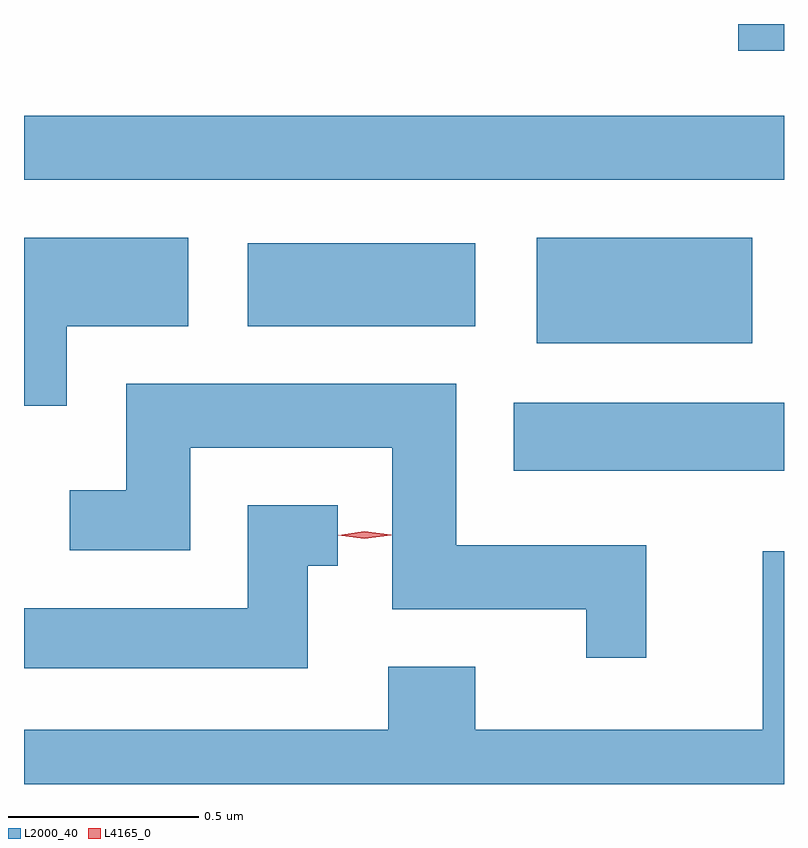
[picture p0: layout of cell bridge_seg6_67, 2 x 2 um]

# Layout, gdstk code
import gdstk
lib = gdstk.Library(unit=1e-6, precision=1e-09)
def R(c, l, rs):  # rectangles x0, y0, x1, y1
    for r in rs: c.add(gdstk.rectangle(r[:2], r[2:], *l))
def P(c, l, *ps):  # polygons
    for p in ps: c.add(gdstk.Polygon(p, *l))
L2000_40 = (2000, 40)
L4165_0 = (4165, 0)

bridge_seg6_67 = lib.new_cell('bridge_seg6_67')
R(bridge_seg6_67, L2000_40, [(1249.421,1639.786,1250.132,1639.964), (1249.481,1640.121,1250.049,1640.399), (1248.721,1640.166,1249.319,1640.384), (1248.132,1640.551,1250.132,1640.719), (1250.011,1640.891,1250.132,1640.961)])
P(bridge_seg6_67, L2000_40, [(1248.244,1640.166),(1248.564,1640.166),(1248.564,1640.399),(1248.132,1640.399),(1248.132,1639.956),(1248.244,1639.956)],
  [(1249.769,1639.589),(1249.269,1639.589),(1249.269,1640.014),(1248.401,1640.014),(1248.401,1639.734),(1248.253,1639.734),(1248.253,1639.576),(1248.569,1639.576),(1248.569,1639.846),(1249.101,1639.846),(1249.101,1639.421),(1249.611,1639.421),(1249.611,1639.293),(1249.769,1639.293)],
  [(1248.879,1639.536),(1248.958,1639.536),(1248.958,1639.694),(1248.721,1639.694),(1248.721,1639.424),(1248.132,1639.424),(1248.132,1639.266),(1248.879,1639.266)],
  [(1250.132,1639.573),(1250.076,1639.573),(1250.076,1639.104),(1249.319,1639.104),(1249.319,1639.269),(1249.091,1639.269),(1249.091,1639.104),(1248.132,1639.104),(1248.132,1638.961),(1250.132,1638.961)])
P(bridge_seg6_67, L4165_0, [(1249.028,1639.606),(1248.959,1639.615),(1248.959,1639.616),(1248.959,1639.616),(1249.028,1639.626),(1249.098,1639.617),(1249.098,1639.616),(1249.098,1639.616)])

lib.write_gds('bridge_seg6_67.gds')
